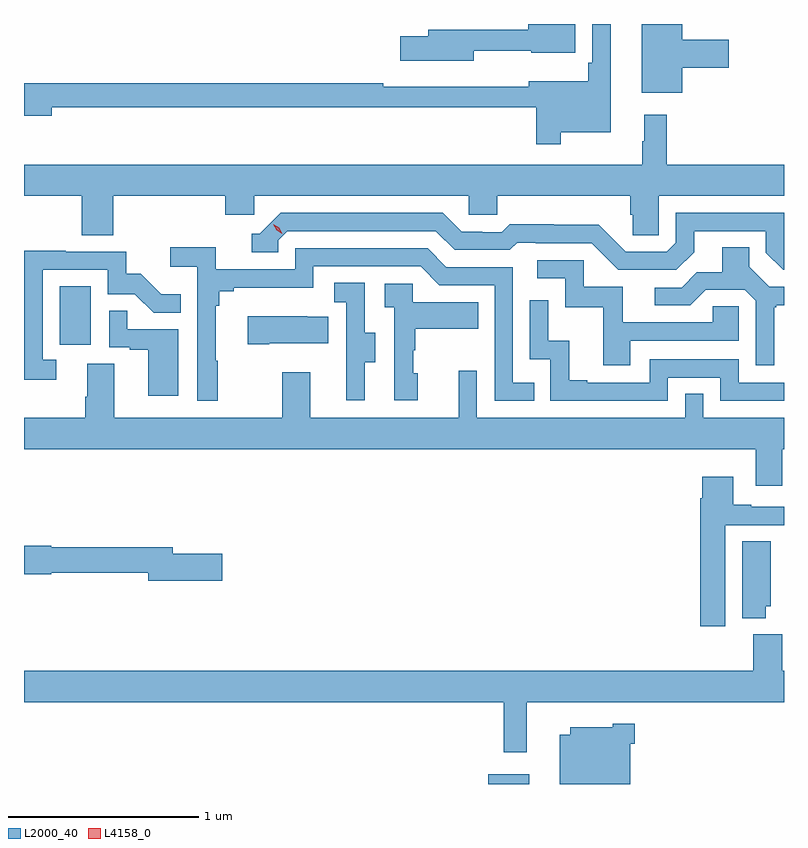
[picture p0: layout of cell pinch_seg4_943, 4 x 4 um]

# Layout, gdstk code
import gdstk
lib = gdstk.Library(unit=1e-6, precision=1e-09)
def R(c, l, rs):  # rectangles x0, y0, x1, y1
    for r in rs: c.add(gdstk.rectangle(r[:2], r[2:], *l))
def P(c, l, *ps):  # polygons
    for p in ps: c.add(gdstk.Polygon(p, *l))
L2000_40 = (2000, 40)
L4158_0 = (4158, 0)

pinch_seg4_943 = lib.new_cell('pinch_seg4_943')
R(pinch_seg4_943, L2000_40, [(865.766,767.085,865.981,767.137), (863.51,769.398,863.674,769.705)])
P(pinch_seg4_943, L2000_40, [(865.69,770.945),(865.992,770.945),(865.992,770.933),(866.224,770.933),(866.224,771.085),(865.976,771.085),(865.976,771.055),(865.451,771.055),(865.451,771.021),(865.302,771.021),(865.302,770.891),(865.69,770.891)],
  [(866.788,770.855),(867.031,770.855),(867.031,771.002),(866.788,771.002),(866.788,771.085),(866.573,771.085),(866.573,770.723),(866.788,770.723)],
  [(866.149,770.516),(866.41,770.516),(866.41,771.085),(866.313,771.085),(866.313,770.881),(866.293,770.881),(866.293,770.785),(865.98,770.785),(865.98,770.755),(865.214,770.755),(865.214,770.774),(863.323,770.774),(863.323,770.603),(863.47,770.603),(863.47,770.646),(866.02,770.646),(866.02,770.451),(866.149,770.451)],
  [(863.792,770.18),(864.383,770.18),(864.383,770.082),(864.534,770.082),(864.534,770.18),(865.665,770.18),(865.665,770.082),(865.815,770.082),(865.815,770.18),(866.513,770.18),(866.513,770.082),(866.527,770.082),(866.527,769.972),(866.664,769.972),(866.664,770.18),(867.323,770.18),(867.323,770.344),(866.705,770.344),(866.705,770.608),(866.588,770.608),(866.588,770.468),(866.577,770.468),(866.577,770.344),(863.323,770.344),(863.323,770.18),(863.627,770.18),(863.627,769.972),(863.792,769.972)],
  [(866.851,769.885),(866.851,769.995),(867.228,769.995),(867.228,769.881),(867.318,769.791),(867.323,769.791),(867.323,770.091),(866.754,770.091),(866.754,769.935),(866.706,769.887),(866.49,769.887),(866.348,770.029),(866.112,770.029),(866.112,770.032),(865.879,770.032),(865.837,769.989),(865.734,769.989),(865.734,769.992),(865.627,769.992),(865.528,770.091),(864.675,770.091),(864.564,769.98),(864.521,769.98),(864.521,769.884),(864.66,769.884),(864.66,769.947),(864.708,769.995),(865.491,769.995),(865.59,769.896),(865.879,769.896),(865.918,769.935),(866.017,769.935),(866.017,769.932),(866.31,769.932),(866.451,769.791),(866.757,769.791)],
  [(864.343,769.313),(864.331,769.313),(864.331,769.601),(864.35,769.601),(864.35,769.678),(864.427,769.678),(864.427,769.697),(864.846,769.697),(864.846,769.809),(865.41,769.809),(865.509,769.71),(865.8,769.71),(865.8,769.101),(866.009,769.101),(866.009,769.197),(865.896,769.197),(865.896,769.806),(865.546,769.806),(865.447,769.905),(864.75,769.905),(864.75,769.794),(864.332,769.794),(864.332,769.91),(864.093,769.91),(864.093,769.808),(864.234,769.808),(864.234,769.101),(864.343,769.101)],
  [(867.271,769.593),(867.283,769.593),(867.283,769.604),(867.323,769.604),(867.323,769.701),(867.246,769.701),(867.139,769.808),(867.139,769.91),(866.999,769.91),(866.999,769.778),(866.864,769.778),(866.784,769.698),(866.643,769.698),(866.643,769.605),(866.83,769.605),(866.911,769.686),(867.117,769.686),(867.174,769.629),(867.174,769.29),(867.271,769.29)],
  [(863.494,769.317),(863.421,769.317),(863.421,769.791),(863.763,769.791),(863.763,769.662),(863.907,769.662),(864.005,769.564),(864.149,769.564),(864.149,769.663),(864.045,769.663),(863.938,769.77),(863.862,769.77),(863.862,769.887),(863.543,769.887),(863.543,769.892),(863.325,769.892),(863.325,769.212),(863.494,769.212)],
  [(866.515,769.419),(867.084,769.419),(867.084,769.599),(866.947,769.599),(866.947,769.515),(866.473,769.515),(866.473,769.701),(866.268,769.701),(866.268,769.842),(866.025,769.842),(866.025,769.746),(866.172,769.746),(866.172,769.593),(866.371,769.593),(866.371,769.29),(866.515,769.29)],
  [(865.117,769.306),(865.171,769.306),(865.171,769.461),(865.116,769.461),(865.116,769.724),(864.957,769.724),(864.957,769.621),(865.02,769.621),(865.02,769.317),(865.019,769.317),(865.019,769.104),(865.117,769.104)],
  [(865.396,769.248),(865.371,769.248),(865.371,769.367),(865.381,769.367),(865.381,769.481),(865.715,769.481),(865.715,769.621),(865.368,769.621),(865.368,769.719),(865.221,769.719),(865.221,769.595),(865.272,769.595),(865.272,769.104),(865.396,769.104)],
  [(866.712,769.224),(866.988,769.224),(866.988,769.101),(867.323,769.101),(867.323,769.197),(867.084,769.197),(867.084,769.32),(866.616,769.32),(866.616,769.197),(866.287,769.197),(866.287,769.21),(866.192,769.21),(866.192,769.418),(866.082,769.418),(866.082,769.63),(865.986,769.63),(865.986,769.32),(866.094,769.32),(866.094,769.101),(866.712,769.101)],
  [(864.136,769.479),(863.867,769.479),(863.867,769.577),(863.772,769.577),(863.772,769.383),(863.879,769.383),(863.879,769.371),(863.978,769.371),(863.978,769.128),(864.136,769.128)],
  [(864.613,769.406),(864.923,769.406),(864.923,769.543),(864.815,769.543),(864.815,769.546),(864.501,769.546),(864.501,769.399),(864.613,769.399)],
  [(867.313,768.848),(867.323,768.848),(867.323,769.012),(866.898,769.012),(866.898,769.139),(866.802,769.139),(866.802,769.012),(865.707,769.012),(865.707,769.261),(865.61,769.261),(865.61,769.012),(864.829,769.012),(864.829,769.252),(864.682,769.252),(864.682,769.012),(863.797,769.012),(863.797,769.298),(863.657,769.298),(863.657,769.124),(863.645,769.124),(863.645,769.012),(863.323,769.012),(863.323,768.848),(867.173,768.848),(867.173,768.654),(867.313,768.654)],
  [(867.013,768.447),(867.323,768.447),(867.323,768.543),(867.151,768.543),(867.151,768.556),(867.055,768.556),(867.055,768.703),(866.894,768.703),(866.894,768.59),(866.882,768.59),(866.882,767.916),(867.013,767.916)],
  [(867.226,768.021),(867.253,768.021),(867.253,768.362),(867.104,768.362),(867.104,767.957),(867.226,767.957)],
  [(864.367,768.296),(864.106,768.296),(864.106,768.332),(863.466,768.332),(863.466,768.34),(863.323,768.34),(863.323,768.188),(863.466,768.188),(863.466,768.196),(863.978,768.196),(863.978,768.154),(864.367,768.154)],
  [(865.968,767.516),(867.323,767.516),(867.323,767.68),(867.313,767.68),(867.313,767.872),(867.161,767.872),(867.161,767.68),(863.323,767.68),(863.323,767.516),(865.849,767.516),(865.849,767.253),(865.968,767.253)],
  [(866.515,767.297),(866.537,767.297),(866.537,767.401),(866.421,767.401),(866.421,767.383),(866.198,767.383),(866.198,767.344),(866.144,767.344),(866.144,767.085),(866.515,767.085)])
P(pinch_seg4_943, L4158_0, [(864.683,769.98),(864.652,769.999),(864.635,770.032),(864.635,770.032),(864.636,770.032),(864.667,770.013),(864.683,769.98),(864.683,769.98)])

lib.write_gds('pinch_seg4_943.gds')
